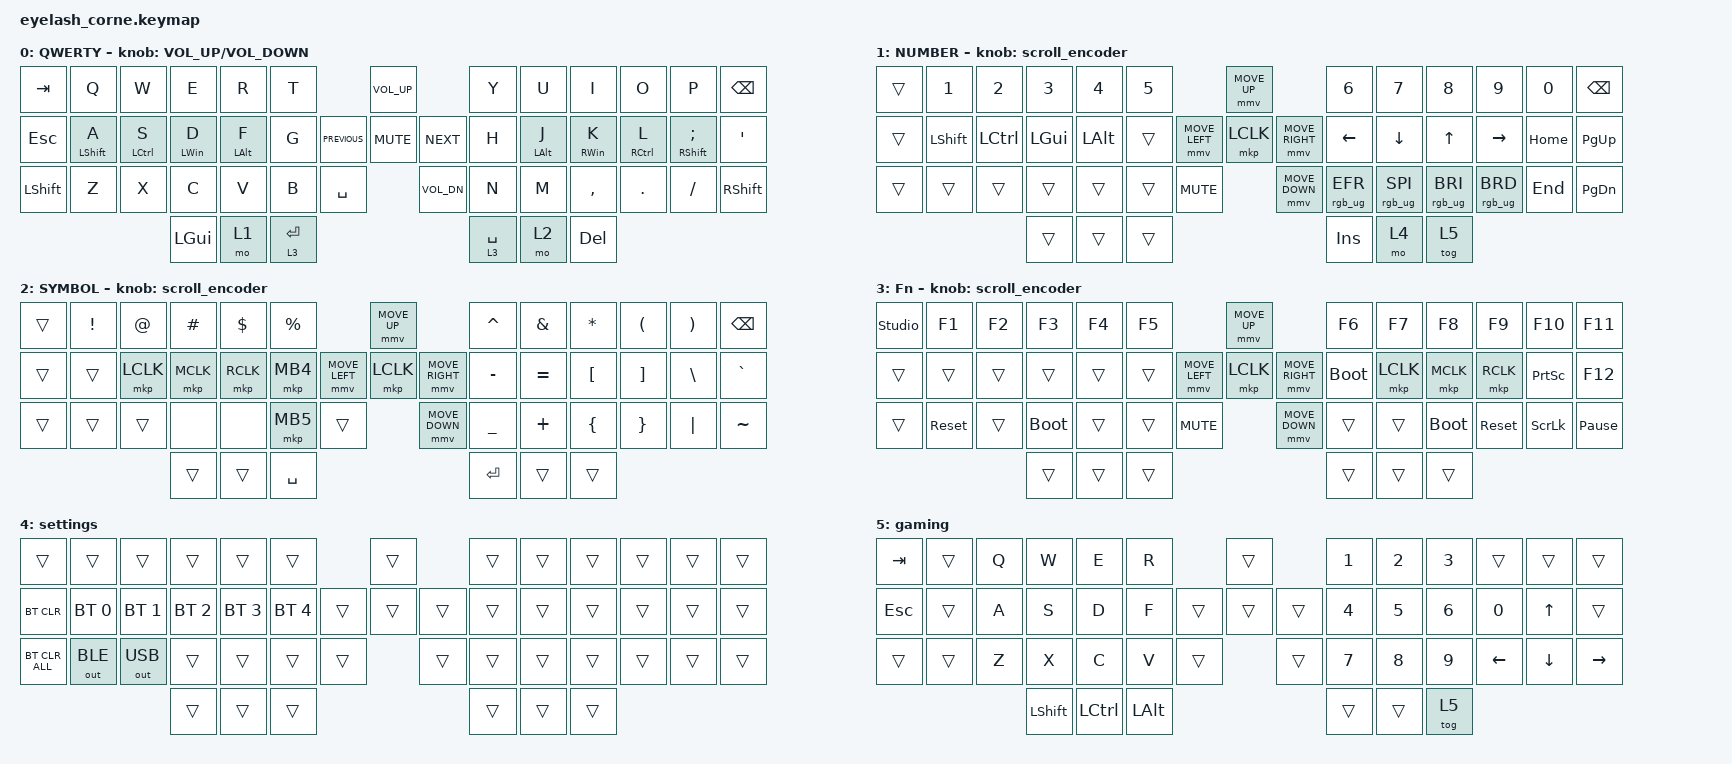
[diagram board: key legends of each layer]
#define ZMK_POINTING_DEFAULT_MOVE_VAL 1200  // 600
#define ZMK_POINTING_DEFAULT_SCRL_VAL 25   // 10

#include <input/processors.dtsi>
#include <zephyr/dt-bindings/input/input-event-codes.h>
#include <behaviors.dtsi>
#include <behaviors/runtime-sensor-rotate.dtsi>
#include <dt-bindings/zmk/bt.h>
#include <dt-bindings/zmk/keys.h>
#include <dt-bindings/zmk/outputs.h>
#include <dt-bindings/zmk/pointing.h>
#include <dt-bindings/zmk/rgb.h>

&mmv_input_listener { input-processors = <&zip_xy_scaler 2 1>; };

&msc_input_listener { input-processors = <&zip_scroll_scaler 2 1>; };

&msc {
    acceleration-exponent = <1>;      // 0
    time-to-max-speed-ms = <100>;       // 300
    delay-ms = <0>;                   // 0
};

&mmv {
    time-to-max-speed-ms = <500>;
    acceleration-exponent = <1>;
    trigger-period-ms = <16>;
};

&soft_off { hold-time-ms = <2000>; };

/ {
    behaviors {
        td0: td0 {
            compatible = "zmk,behavior-tap-dance";
            display-name = "Shift/Caps Lock Tap Dance";
            #binding-cells = <0>;
            bindings = <&kp LEFT_SHIFT>, <&kp CAPS>;
        };
    };

    rgb_encoder: rgb_encoder {
        compatible = "zmk,behavior-sensor-rotate";
        #sensor-binding-cells = <0>;
        bindings = <&rgb_ug RGB_BRI>, <&rgb_ug RGB_BRD>;
    };

    scroll_encoder: scroll_encoder {
        compatible = "zmk,behavior-sensor-rotate";
        #sensor-binding-cells = <0>;
        bindings = <&msc SCRL_DOWN>, <&msc SCRL_UP>;

        tap-ms = <100>;
    };

    behaviors {
        rsr_vol: rsr_vol {
            compatible = "zmk,behavior-runtime-sensor-rotate";
            #sensor-binding-cells = <0>;
            tap-ms = <5>;
            cw-binding = <&kp C_VOL_UP>;
            ccw-binding = <&kp C_VOL_DN>;
        };

        rsr_trans: rsr_trans {
            compatible = "zmk,behavior-runtime-sensor-rotate";
            #sensor-binding-cells = <0>;
            tap-ms = <0>;
        };
    };

    combos {
        compatible = "zmk,combos";

        softoff {
            bindings = <&soft_off>;
            key-positions = <1 15 29>;
        };
    };

    keymap {
        compatible = "zmk,keymap";

        default_layer {
            display-name = "QWERTY";
            bindings = <
&kp TAB     &kp Q        &kp W        &kp E       &kp R       &kp T                                     &kp C_VOL_UP              &kp Y        &kp U       &kp I       &kp O        &kp P           &kp BSPC
&kp ESCAPE  &mt LSHFT A  &mt LCTRL S  &mt LWIN D  &mt LALT F  &kp G                     &kp K_PREVIOUS  &kp C_MUTE    &kp C_NEXT  &kp H        &mt LALT J  &mt RWIN K  &mt RCTRL L  &mt RSHFT SEMI  &kp SQT
&kp LSHIFT  &kp Z        &kp X        &kp C       &kp V       &kp B        &kp SPACE                    &kp C_VOL_DN              &kp N        &kp M       &kp COMMA   &kp DOT      &kp FSLH        &kp RSHFT
                                      &kp LGUI    &mo 1       &lt 3 ENTER                                                         &lt 3 SPACE  &mo 2       &kp DEL
            >;

            sensor-bindings = <&inc_dec_kp C_VOLUME_UP C_VOLUME_DOWN>;
        };

        lower_layer {
            display-name = "NUMBER";
            bindings = <
&trans  &kp N1     &kp N2     &kp N3        &kp N4    &kp N5                                &mmv MOVE_UP                     &kp N6           &kp N7           &kp N8           &kp N9           &kp N0    &kp BSPC
&trans  &kp LSHFT  &kp LCTRL  &kp LEFT_GUI  &kp LALT  &trans                &mmv MOVE_LEFT  &mkp LCLK       &mmv MOVE_RIGHT  &kp LEFT         &kp DOWN         &kp UP           &kp RIGHT        &kp HOME  &kp PG_UP
&trans  &trans     &trans     &trans        &trans    &trans  &kp C_MUTE                    &mmv MOVE_DOWN                   &rgb_ug RGB_EFR  &rgb_ug RGB_SPI  &rgb_ug RGB_BRI  &rgb_ug RGB_BRD  &kp END   &kp PG_DN
                              &trans        &trans    &trans                                                                 &kp INS          &mo 4            &tog 5
            >;

            sensor-bindings = <&scroll_encoder>;
        };

        raise_layer {
            display-name = "SYMBOL";
            bindings = <
&trans  &kp EXCL  &kp AT     &kp HASH   &kp DLLR   &kp PRCNT                            &mmv MOVE_UP                     &kp CARET  &kp AMPS   &kp ASTRK  &kp LPAR  &kp RPAR  &kp BSPC
&trans  &trans    &mkp LCLK  &mkp MCLK  &mkp RCLK  &mkp MB4             &mmv MOVE_LEFT  &mkp LCLK       &mmv MOVE_RIGHT  &kp MINUS  &kp EQUAL  &kp LBKT   &kp RBKT  &kp BSLH  &kp GRAVE
&trans  &trans    &trans     &none      &none      &mkp MB5   &trans                    &mmv MOVE_DOWN                   &kp UNDER  &kp PLUS   &kp LBRC   &kp RBRC  &kp PIPE  &kp TILDE
                             &trans     &trans     &kp SPACE                                                             &kp RET    &trans     &trans
            >;

            sensor-bindings = <&scroll_encoder>;
        };

        layer_3 {
            display-name = "Fn";
            bindings = <
&studio_unlock  &kp F1      &kp F2  &kp F3       &kp F4  &kp F5                                &mmv MOVE_UP                     &kp F6       &kp F7     &kp F8       &kp F9      &kp F10          &kp F11
&trans          &trans      &trans  &trans       &trans  &trans                &mmv MOVE_LEFT  &mkp LCLK       &mmv MOVE_RIGHT  &bootloader  &mkp LCLK  &mkp MCLK    &mkp RCLK   &kp PRINTSCREEN  &kp F12
&trans          &sys_reset  &trans  &bootloader  &trans  &trans  &kp C_MUTE                    &mmv MOVE_DOWN                   &trans       &trans     &bootloader  &sys_reset  &kp SCROLLLOCK   &kp PAUSE_BREAK
                                    &trans       &trans  &trans                                                                 &trans       &trans     &trans
            >;

            sensor-bindings = <&scroll_encoder>;
        };

        settings {
            bindings = <
&trans          &trans        &trans        &trans        &trans        &trans                          &trans          &trans  &trans  &trans  &trans  &trans  &trans
&bt BT_CLR      &bt BT_SEL 0  &bt BT_SEL 1  &bt BT_SEL 2  &bt BT_SEL 3  &bt BT_SEL 4            &trans  &trans  &trans  &trans  &trans  &trans  &trans  &trans  &trans
&bt BT_CLR_ALL  &out OUT_BLE  &out OUT_USB  &trans        &trans        &trans        &trans            &trans          &trans  &trans  &trans  &trans  &trans  &trans
                                            &trans        &trans        &trans                                          &trans  &trans  &trans
            >;
        };

        gaming {
            bindings = <
&kp TAB     &trans  &kp Q  &kp W      &kp E      &kp R                       &trans          &kp N1  &kp N2  &kp N3  &trans          &trans    &trans
&kp ESCAPE  &trans  &kp A  &kp S      &kp D      &kp F               &trans  &trans  &trans  &kp N4  &kp N5  &kp N6  &kp N0          &kp UP    &trans
&trans      &trans  &kp Z  &kp X      &kp C      &kp V     &trans            &trans          &kp N7  &kp N8  &kp N9  &kp LEFT_ARROW  &kp DOWN  &kp RIGHT
                           &kp LSHFT  &kp LCTRL  &kp LALT                                    &trans  &trans  &tog 5
            >;
        };
    };
};
